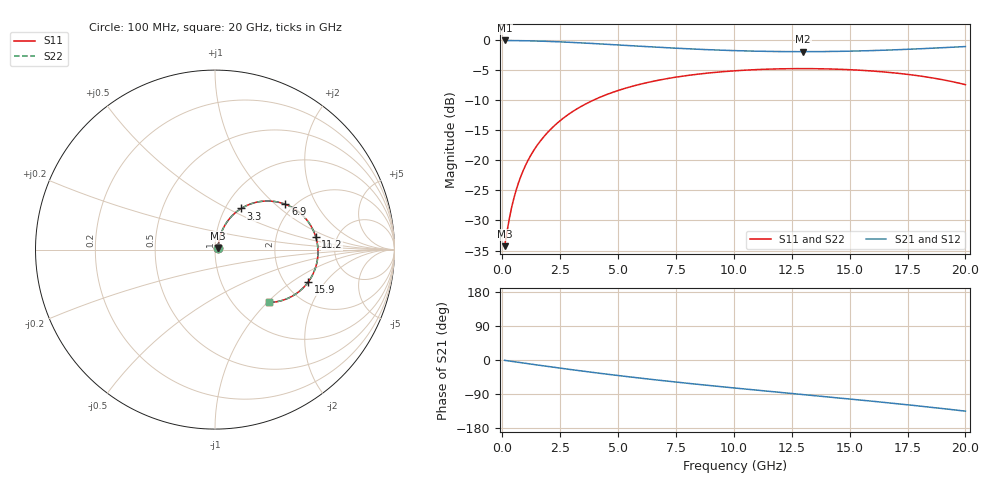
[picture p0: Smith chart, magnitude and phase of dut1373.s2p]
! Touchstone file exported from HFSS 2026.1.0
!  File:  C:/ffzhzh/LocalFiles/Ansys_Project_Files/temp_train_TSV_RDL_1373_1783346191_50076.aedt
!  Generated:  10:20:40 PM Jul  6, 2026
!  Design:  TSV_RDL
!  Project:  temp_train_TSV_RDL_1373_1783346191_50076
! Variables:
!  h_bsmrdl = 4.2um
!  h_ox = 20um
!  h_rdl = 5um
!  h_sub = 96.08um
!  h_tmrdl = 5.21um
!  h_tsv = 96.08um
!  h_via = 3um
!  l_bsmrdl = 289.6um
!  l_sub = 2118.74um
!  l_tmrdl = 182.41um
!  m_sub = 200um
!  pitch = 45.89um
!  r_tsv = 2.73um
!  s_tmrdl = 10um
!  w_bsmrdl = 14.76um
!  w_sub = 500um
!  w_tmrdl = 25.34um
!  x_tsv_center1 = 195.08um
!  x_tsv_center2 = 499.44um
!  x_tsv_center3 = 707.19um
!  x_tsv_center4 = 1011.55um
!  x_tsv_center5 = 1219.3um
!  x_tsv_center6 = 1523.66um
# GHz S MA R 50.000000
! Terminal data exported
! Port[1] = TM_RDL1_1_T1
! Port[2] = TM_RDL5_1_T1
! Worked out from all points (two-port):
!   200 points, 100 MHz to 20 GHz, reference 50 ohm
!   highest |S21| = -0.15 dB at 100 MHz (marker M1); lowest = -2.0 dB at 13 GHz (marker M2)
!   |S21| within 3 dB of the highest: start of sweep to end of sweep
!   lowest |S11| = -34.3 dB at 100 MHz (marker M3), VSWR 1.04, Z = 51.7 + j0.934 ohm
!   |S11| at or under -10 dB: start of sweep to 3.964 GHz
!   |S22| runs from -34.3 to -4.8 dB; largest |S21 - S12| = 2e-13
!   S11 on the Smith chart (normalised r, x): 100 MHz: 1.03, +0.02; 3.3 GHz: 1.18, +0.59; 6.9 GHz: 1.81, +1.16; 11.2 GHz: 3.44, +0.72; 15.9 GHz: 2.65, -1.37; 20 GHz: 1.43, -1.03
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0.1  0.01935 27.8  0.983 -0.9  0.983 -0.9  0.01935 27.8
! Gamma 0 0 0 0
! Port Impedance 50 0 50 0
0.3  0.03246 54.6  0.9821 -2.7  0.9821 -2.7  0.03246 54.6
0.5  0.04833 63.8  0.9811 -4.4  0.9811 -4.4  0.04833 63.8
0.8  0.07333 68.5  0.9792 -7.0  0.9792 -7.0  0.07333 68.5
1.1  0.09867 69.5  0.9767 -9.6  0.9767 -9.6  0.09867 69.5
1.5  0.1322 68.7  0.9724 -13.1  0.9724 -13.1  0.1322 68.7
2  0.1732 66.2  0.9654 -17.3  0.9654 -17.3  0.1732 66.2
2.6  0.2203 62.4  0.955 -22.3  0.955 -22.3  0.2203 62.4
3.3  0.2716 57.5  0.941 -28.0  0.941 -28.0  0.2716 57.5
3.5  0.2855 56.1  0.9367 -29.6  0.9367 -29.6  0.2855 56.1
5  0.378 45.5  0.9023 -41.0  0.9023 -41.0  0.378 45.5
6.8  0.4623 33.4  0.8619 -53.6  0.8619 -53.6  0.4623 33.4
6.9  0.4661 32.8  0.8598 -54.3  0.8598 -54.3  0.4661 32.8
8.5  0.5178 22.9  0.8302 -64.6  0.8302 -64.6  0.5178 22.9
10.1  0.5517 13.4  0.8088 -74.3  0.8088 -74.3  0.5517 13.4
11.2  0.5659 7.2  0.7994 -80.8  0.7994 -80.8  0.5659 7.2
13  0.5742 -2.8  0.7936 -91.2  0.7936 -91.2  0.5742 -2.8
13.4  0.5737 -5.1  0.794 -93.6  0.794 -93.6  0.5737 -5.1
15.9  0.5498 -19.2  0.8093 -108.3  0.8093 -108.3  0.5498 -19.2
16.7  0.5342 -23.8  0.8187 -113.2  0.8187 -113.2  0.5342 -23.8
18.4  0.4869 -34.1  0.8448 -124.0  0.8448 -124.0  0.4869 -34.1
20  0.4226 -44.2  0.875 -135.0  0.875 -135.0  0.4226 -44.2
